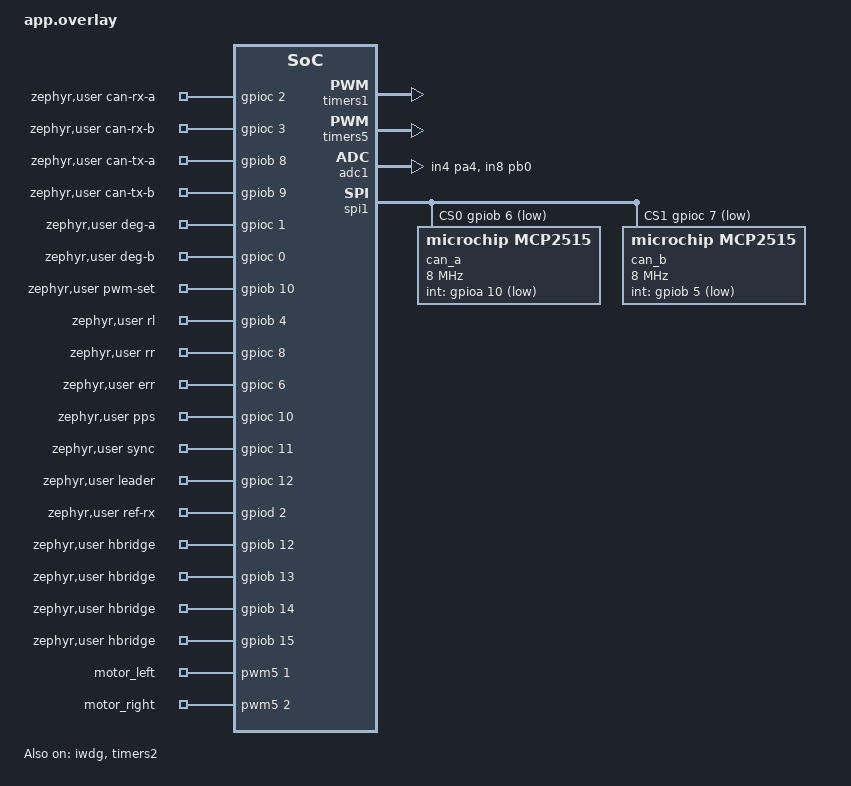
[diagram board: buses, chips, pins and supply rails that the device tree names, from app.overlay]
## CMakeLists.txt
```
cmake_minimum_required(VERSION 3.20.0)

find_package(Zephyr REQUIRED HINTS $ENV{ZEPHYR_BASE})
project(node3_rear)

target_include_directories(app PRIVATE ${CMAKE_CURRENT_SOURCE_DIR}/../shared)

# Lab 5 startup mode, same on all three nodes (CMake caches these: pass
# -DLEADER=cockpit -DSEED= to go back):
#   west build ... -- -DLEADER=random            election at boot
#   west build ... -- -DLEADER=random -DSEED=408  reproducible; the Pi wins
if(DEFINED LEADER AND LEADER STREQUAL "random")
  target_compile_definitions(app PRIVATE RAFT_DEFAULT_LEADER=-1)
endif()
if(DEFINED SEED AND NOT SEED STREQUAL "")
  target_compile_definitions(app PRIVATE RAFT_ELECTION_SEED=${SEED}u)
endif()

target_sources(app PRIVATE
    ${CMAKE_CURRENT_SOURCE_DIR}/../shared/raft_agent.c
    ${CMAKE_CURRENT_SOURCE_DIR}/../shared/raft_transport.c
    ${CMAKE_CURRENT_SOURCE_DIR}/../shared/timesync.c
    # shared with node2_front (identical files)
    src/main.c
    src/blink.c
    src/button.c
    src/canbus.c
    src/ctrl.c
    src/current_sensor.c
    src/evlog.c
    src/gtime.c
    src/hb.c
    src/relay.c
    src/raft_node.c
    src/report.c
    src/tp.c
    src/wcet.c
    src/jitter.c
    src/watchdog.c
    src/zone.c
    # N3 only: drivetrain zone
    src/motor.c
    src/encoder.c
    src/drive.c
)
```

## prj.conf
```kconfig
CONFIG_GPIO=y
CONFIG_SPI=y
CONFIG_CAN=y
# RX overrun counter in the 1 s summary (ovr=)
CONFIG_STATS=y
CONFIG_CAN_STATS=y
# CONFIG_CAN_MCP2515 is turned on automatically by the mcp2515 nodes in app.overlay
CONFIG_PWM=y
CONFIG_ADC=y
# Independent watchdog (R4.5) and reset-cause readout
CONFIG_WATCHDOG=y
CONFIG_HWINFO=y
# Quadrature encoder driver (st,stm32-qdec), as in Lab 2
CONFIG_SENSOR=y

CONFIG_CONSOLE=y
CONFIG_UART_CONSOLE=y
CONFIG_PRINTK=y

CONFIG_MAIN_STACK_SIZE=2048

# WCET measurement (src/wcet.c): per-thread CPU time, which stops while a
# thread is preempted or blocked. ANALYSIS adds the driver threads' longest run.
CONFIG_THREAD_RUNTIME_STATS=y
CONFIG_SCHED_THREAD_USAGE=y
CONFIG_SCHED_THREAD_USAGE_ANALYSIS=y
```

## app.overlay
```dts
/*
 * N3 (rear, drivetrain): two MCP2515 CAN modules on SPI1, the Lab 2 H-bridge,
 * wheel encoders and motor current sensors (on their Lab 2 pins), and the
 * Lab 3 test points. Full pin and breadboard-row map: docs/lab3_pin_map.md
 * PC2, PC3, PC6, PC8 and PB12 are on the ST morpho headers (labelled on the board).
 */
#include <zephyr/dt-bindings/gpio/gpio.h>
#include <zephyr/dt-bindings/pwm/pwm.h>

/ {
	aliases {
		can-a = &can_a;
		can-b = &can_b;
	};

	zephyr,user {
		/* Test points (src/tp.c). Rows 1-2 of the test-point board are GND. */
		can-rx-a-gpios = <&gpioc 2 GPIO_ACTIVE_HIGH>;	/* row 3:  CAN_RX_A, PC2 (morpho) */
		can-rx-b-gpios = <&gpioc 3 GPIO_ACTIVE_HIGH>;	/* row 4:  CAN_RX_B, PC3 (morpho) */
		can-tx-a-gpios = <&gpiob 8 GPIO_ACTIVE_HIGH>;	/* row 5:  CAN_TX_A, D15 / PB8 */
		can-tx-b-gpios = <&gpiob 9 GPIO_ACTIVE_HIGH>;	/* row 6:  CAN_TX_B, D14 / PB9 */
		deg-a-gpios    = <&gpioc 1 GPIO_ACTIVE_HIGH>;	/* row 7:  DEG_A,    A4 / PC1, LED */
		deg-b-gpios    = <&gpioc 0 GPIO_ACTIVE_HIGH>;	/* row 8:  DEG_B,    A5 / PC0, LED */
		pwm-set-gpios  = <&gpiob 10 GPIO_ACTIVE_HIGH>;	/* row 9:  PWM_SET,  D6 / PB10 */
		/* row 10: PWM_OUT = left motor ENA PWM, A0 / PA0 (pwms below) */
		/* row 11: DIR_A   = H-bridge IN1, PB12 (hbridge-gpios below) */
		rl-gpios       = <&gpiob 4 GPIO_ACTIVE_HIGH>;	/* row 12: RL,       D5 / PB4, LED */
		rr-gpios       = <&gpioc 8 GPIO_ACTIVE_HIGH>;	/* row 13: RR,       PC8 (morpho), LED */
		err-gpios      = <&gpioc 6 GPIO_ACTIVE_HIGH>;	/* row 14: ERR,      PC6 (morpho), added */
		/* Lab 5 (src/gtime.c). No Arduino pin is free, so N2 and N3 use the same
		 * morpho pins, labelled on the board: CN7 pins 1-4 (top of the left header). */
		pps-gpios      = <&gpioc 10 GPIO_ACTIVE_HIGH>;	/* PPS:    PC10, morpho CN7 pin 1 (rising edge each global second) */
		sync-gpios     = <&gpioc 11 GPIO_ACTIVE_HIGH>;	/* SYNC:   PC11, morpho CN7 pin 2 (LED) */
		leader-gpios   = <&gpioc 12 GPIO_ACTIVE_HIGH>;	/* LEADER: PC12, morpho CN7 pin 3 (LED) */
		ref-rx-gpios   = <&gpiod 2 GPIO_ACTIVE_HIGH>;	/* REF_RX: PD2,  morpho CN7 pin 4 (toggles per REF used) */

		/* L298 H-bridge (src/motor.c), Lab 2 pins */
		hbridge-gpios = <&gpiob 12 GPIO_ACTIVE_HIGH>,	/* IN1, also DIR_A */
				<&gpiob 13 GPIO_ACTIVE_HIGH>,	/* IN2 */
				<&gpiob 14 GPIO_ACTIVE_HIGH>,	/* IN3 */
				<&gpiob 15 GPIO_ACTIVE_HIGH>;	/* IN4 */
		pwms = <&pwm5 1 PWM_USEC(100) PWM_POLARITY_NORMAL>,	/* ENA, PA0 */
		       <&pwm5 2 PWM_USEC(100) PWM_POLARITY_NORMAL>;	/* ENB, PA1 */
		pwm-names = "motor_left", "motor_right";
	};
};

/* ---- Board defaults that sit on pins this node uses ---- */
/* ---- Independent watchdog (src/watchdog.c); the window watchdog stays off ---- */
&iwdg { status = "okay"; };
&wwdg { status = "disabled"; };
&gpiod { status = "okay"; };	/* PD2: REF_RX test point */

&usart1 { status = "disabled"; };	/* PB6/PB7: PB6 is CAN A chip select */
&i2c1 { status = "disabled"; };		/* PB8/PB9: CAN_TX_A/B test points */
&i2c3 { status = "disabled"; };		/* PA8/PC9: PA8 is the left encoder */
&spi2 { status = "disabled"; };		/* PB12-PB15: H-bridge IN1-IN4 */
&pwm2 { status = "disabled"; };		/* PWM LED on PA5 = SPI1 SCK */

/* ---- Left encoder: TIM1 CH1/CH2 on PA8/PA9 (Lab 2) ---- */
&timers1 {
	status = "okay";
	st,prescaler = <0>;

	pwm {
		status = "disabled";
	};

	left_encoder: qdec {
		compatible = "st,stm32-qdec";
		status = "okay";
		pinctrl-0 = <&tim1_ch1_pa8 &tim1_ch2_pa9>;
		pinctrl-names = "default";
		st,encoder-mode = <3>;
		st,input-filter-level = <3>;
		st,counts-per-revolution = <1>;
	};
};

/* ---- Right encoder: TIM2 CH1/CH2 on PA15/PB3 (Lab 2) ---- */
&timers2 {
	status = "okay";
	st,prescaler = <0>;

	right_encoder: qdec {
		compatible = "st,stm32-qdec";
		status = "okay";
		pinctrl-0 = <&tim2_ch1_pa15 &tim2_ch2_pb3>;
		pinctrl-names = "default";
		st,encoder-mode = <3>;
		st,input-filter-level = <3>;
		st,counts-per-revolution = <1>;
	};
};

/* ---- Motor enables ENA/ENB: TIM5 CH1/CH2 on PA0/PA1, 10 kHz (Lab 2) ---- */
&timers5 {
	status = "okay";
	st,prescaler = <83>;

	pwm5: pwm {
		status = "okay";
		pinctrl-0 = <&tim5_ch1_pa0 &tim5_ch2_pa1>;
		pinctrl-names = "default";
	};
};

/* ---- Motor current sensors: left PB0 = ADC1_IN8, right PA4 = ADC1_IN4 (Lab 2) ---- */
&adc1 {
	pinctrl-0 = <&adc1_in4_pa4 &adc1_in8_pb0>;
	pinctrl-names = "default";
	status = "okay";
};

/*
 * ---- Two XIAO CAN modules (MCP2515 + SN65HVD230) on SPI1 ----
 *
 *   Module   Function   Nucleo
 *   D8       SCK        D13 / PA5   (shared)
 *   D10      MOSI       D11 / PA7   (shared)
 *   D9       MISO       D12 / PA6   (shared)
 *   D7       CS         CAN A: D10 / PB6    CAN B: D9 / PC7
 *   D6       INT        CAN A: D2  / PA10   CAN B: D4 / PB5
 *
 * osc-freq must match the crystal printed on the module's metal can.
 */
&spi1 {
	status = "okay";
	cs-gpios = <&gpiob 6 GPIO_ACTIVE_LOW>,	/* reg 0: CAN A */
		   <&gpioc 7 GPIO_ACTIVE_LOW>;	/* reg 1: CAN B */

	can_a: can@0 {
		compatible = "microchip,mcp2515";
		reg = <0>;
		/*
		 * Requests 8 MHz; SPI1 runs from the 84 MHz APB2 clock with power-of-two
		 * dividers, so the real clock is 84/16 = 5.25 MHz (4 MHz gave 2.625).
		 * Lab 5: N2 relays ~190 frames/s over this shared bus; at 2.625 MHz its
		 * TX completions fell behind and heartbeats found all 3 TX buffers busy.
		 * History: 1 MHz lost back-to-back frames. MCP2515 max is 10 MHz.
		 */
		spi-max-frequency = <8000000>;
		int-gpios = <&gpioa 10 (GPIO_ACTIVE_LOW | GPIO_PULL_UP)>;
		osc-freq = <16000000>;
		bitrate = <500000>;
		status = "okay";
	};

	can_b: can@1 {
		compatible = "microchip,mcp2515";
		reg = <1>;
		spi-max-frequency = <8000000>;
		int-gpios = <&gpiob 5 (GPIO_ACTIVE_LOW | GPIO_PULL_UP)>;
		osc-freq = <16000000>;
		bitrate = <500000>;
		status = "okay";
	};
};
```

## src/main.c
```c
/*
 * Lab 3 zone controller: shared dual-CAN layer, heartbeats, HB_MON with
 * degraded LEDs and zone failure, the N2 relay, test points, and the Lab 2
 * actuators and sensors for this zone (app.h: steer.c on N2, drive.c on N3).
 *
 * Threads (priority, lower = higher; all values in lab3_config.h):
 *   MCP2515 driver x2 (2)  SPI frame reads, toggles CAN_RX_A/B via canbus rx_cb
 *   relay      (3, N2)     forwards first copies to the other bus, RELAY_TX
 *   dispatch   (4)         dedup by (ID, seq), heartbeat ages, CTRL check,
 *                          HB/FAULT -> zone state, BLINK -> blink
 *   steer      (5, N2)     CTRL -> servo angle
 *   drive      (5, N3)     CTRL -> brake / coast / PID target
 *   blink      (5)         this zone's two blinker lamps
 *   test_btn   (5)         USER button B1 -> local fault / recover
 *   pid        (6, N3)     encoders -> motor duty every 10 ms
 *   pps        (6)         Lab 5: PPS edge on each global second, SYNC snapshot
 *   hb_tx      (7)         HB every 20 ms on both buses
 *   hb_mon     (8)         every 5 ms: DEG_A/B, zone lost, zone state, ERR, watchdog
 *   force      (9, N2)     FORCE every 50 ms
 *   current    (10)        current sensors every 20 ms
 *   report     (12)        console summary once a second
 *
 * Console: USART2 / ST-LINK virtual COM port, 115200 baud.
 */
#include <zephyr/kernel.h>
#include <zephyr/sys/printk.h>

#include "app.h"
#include "blink.h"
#include "button.h"
#include "canbus.h"
#include "gtime.h"
#include "ctrl.h"
#include "hb.h"
#include "lab3_config.h"
#include "node_config.h"
#include "raft_node.h"
#include "raft_config.h"
#include "relay.h"
#include "report.h"
#include "tp.h"
#include "watchdog.h"
#include "wcet.h"
#include "zone.h"

/* Dispatch thread: route the first copy of each frame. */
static void on_frame(const struct can_frame *frame, int bus)
{
	if (catalog_is_raft(frame->id)) {
		if ((frame->id & ~3u) == ID_REF(0)) {
			gtime_on_ref(frame, canbus_rx_cycles()); /* before any queueing */
		}
		raft_node_receive(frame);
		return;
	}
	if (frame->id == ID_CTRL) {
		ctrl_on_frame(frame);
	} else if (frame->id == ID_BLINK) {
		blink_on_frame(frame);
	} else if (catalog_is_hb(frame->id) || (frame->id >= ID_FAULT(0) && frame->id < ID_FAULT(NUM_NODES))) {
		zone_on_frame(frame);
	}
	app_on_frame(frame, bus);
}

int main(void)
{
	printk("Lab 3 zone %s: heartbeat 0x%03x every %d ms, relay %s\n", NODE_NAME,
	       ID_HB(NODE_SELF), HB_PERIOD_MS, RELAY_ENABLED ? "on" : "off");

	tp_init();
	wcet_init();
	if (TP_WALK_MS > 0) {
		tp_selftest(TP_WALK_MS);
	}
	/* Power up in the error state with both buses degraded until heartbeats arrive. */
	tp_set(TP_ERR, 1);
	tp_set(TP_DEG_A, 1);
	tp_set(TP_DEG_B, 1);

	gtime_init(); /* before CAN: the first REF may arrive at once */
	canbus_set_handler(on_frame);
	if (canbus_init() < 0) {
		printk("no CAN controller came up\n");
	}
	raft_node_init();
	relay_init();
	hb_init();
	report_init();

	/* Actuators safe, sensors calibrated (~0.75 s), then the zone's tasks. */
	int ret = app_init();

	if (ret < 0) {
		printk("app_init failed (%d): actuators stay in their safe state\n", ret);
	}
	blink_init();
	if (button_init() < 0) {
		printk("test button init failed\n");
	}
	/* Last, and only if the actuator task is running: it has to check in. */
	if (ret == 0) {
		watchdog_init();
	} else {
		printk("watchdog not started (no actuator task to supervise)\n");
	}
	return 0;
}
```

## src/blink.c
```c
#include "blink.h"

#include <zephyr/kernel.h>
#include <zephyr/sys/atomic.h>

#include "catalog.h"
#include "blink_phase.h"
#include "canbus.h" /* BUS_A, BUS_B */
#include "evlog.h"
#include "gtime.h"
#include "hb.h"
#include "lab3_config.h"
#include "node_config.h"
#include "tp.h"
#include "wcet.h"
#include "zone.h"

#define BLINK_STACK_SIZE 1024
#define BLINK_POLL_US    10000 /* re-check zone, peers and BLINK age at least this often */

static atomic_t last_bits;      /* byte 1 of the last BLINK */
static atomic_t last_rx_ms;     /* 0 = never */
static atomic_t local_hazard;   /* half period of a local hazard, 0 = none */
static atomic_t lamp_half_ms;   /* half period now in use, 0 = lamps off */
static atomic_t lamps;          /* bit 0 left, bit 1 right: what's lit now */

K_SEM_DEFINE(blink_new, 0, 1);
K_THREAD_STACK_DEFINE(blink_stack, BLINK_STACK_SIZE);
static struct k_thread blink_data;

void blink_on_frame(const struct can_frame *frame)
{
	uint32_t now = k_uptime_get_32();

	atomic_set(&last_bits, frame->data[1]);
	atomic_set(&last_rx_ms, now != 0 ? now : 1);
	k_sem_give(&blink_new);
}

static void set_lamps(bool left, bool right)
{
	tp_set(BLINK_LAMP_LEFT, left);
	tp_set(BLINK_LAMP_RIGHT, right);
	atomic_set(&lamps, (left ? 1 : 0) | (right ? 2 : 0));
}

/* Half period for a cockpit BLINK mode; 0 = off. */
static uint32_t mode_half_ms(uint8_t mode)
{
	if (mode == (BLINK_LEFT | BLINK_RIGHT)) {
		return BLINK_HAZARD_HALF_MS;
	}
	return mode ? BLINK_TURN_HALF_MS : 0;
}

static void blink_thread(void *p1, void *p2, void *p3)
{
	uint8_t logged_mode = 0;
	uint32_t wait_us = 0;
	struct wcet_job job = WCET_JOB(WCET_BLINK);

	ARG_UNUSED(p1);
	ARG_UNUSED(p2);
	ARG_UNUSED(p3);

	for (;;) {
		/* A frame wakes us at once; otherwise the next lamp edge, or 10 ms. */
		wcet_end(&job);
		k_sem_take(&blink_new, K_USEC(wait_us));
		wcet_begin(&job);

		uint32_t now = k_uptime_get_32();
		uint32_t rx = (uint32_t)atomic_get(&last_rx_ms);
		/*
		 * Cut off from both buses (jumpers pulled): we can't tell whether the
		 * cockpit is down, so this is an ordinary local hazard at 2 Hz. Only
		 * N1 going silent while we still hear the bus is the vehicle's
		 * failure mode (cockpit down), at 4 Hz.
		 */
		bool isolated = zone_state() == ZONE_ISOLATED ||
				(hb_bus_degraded(BUS_A) && hb_bus_degraded(BUS_B));
		bool failure = !isolated && !hb_peer_alive(NODE_N1);
		bool hazard_here = isolated || failure || rx == 0 || now - rx > BLINK_STALE_MS;
		uint32_t half_ms;
		bool left, right;

		if (hazard_here) {
			half_ms = failure ? BLINK_FAILURE_HALF_MS : BLINK_HAZARD_HALF_MS;
			if ((uint32_t)atomic_get(&local_hazard) != half_ms) {
				if (isolated) {
					evlog("local hazard ON (%u Hz): isolated from both buses",
					      500u / half_ms);
				} else if (failure) {
					evlog("local hazard ON (%u Hz): N1 heartbeat lost, failure mode",
					      500u / half_ms);
				} else if (rx == 0) {
					evlog("local hazard ON (%u Hz): no BLINK received yet",
					      500u / half_ms);
				} else {
					evlog("local hazard ON (%u Hz): no BLINK for %u ms",
					      500u / half_ms, now - rx);
				}
				atomic_set(&local_hazard, (atomic_val_t)half_ms);
			}
			left = right = true;
		} else {
			if (atomic_get(&local_hazard)) {
				evlog("local hazard off");
			}
			atomic_set(&local_hazard, 0);

			uint8_t mode = (uint8_t)atomic_get(&last_bits) & (BLINK_LEFT | BLINK_RIGHT);

			if (mode != logged_mode) {
				static const char *const names[] = {"off", "LEFT", "RIGHT", "HAZARD"};

				evlog("cockpit BLINK %s -> %s", names[logged_mode], names[mode]);
				logged_mode = mode;
			}
			half_ms = mode_half_ms(mode);
			left = mode & BLINK_LEFT;
			right = mode & BLINK_RIGHT;
		}
		atomic_set(&lamp_half_ms, (atomic_val_t)half_ms);

		/* Phase from global time, not from the BLINK frame: front and rear
		 * switch at the same global instant (shared/blink_phase.h). */
		uint64_t g = global_gettime();
		bool on = blink_phase_on(g, half_ms);

		set_lamps(on && left, on && right);

		uint64_t to_edge = half_ms ? blink_us_to_edge(g, half_ms) : BLINK_POLL_US;

		wait_us = (uint32_t)(to_edge < BLINK_POLL_US ? to_edge : BLINK_POLL_US);
	}
}

const char *blink_describe(void)
{
	static const char *const names[] = {"off", "LEFT", "RIGHT", "HAZARD"};
	static char buf[40];
	uint8_t bits = (uint8_t)atomic_get(&last_bits) & (BLINK_LEFT | BLINK_RIGHT);
	bool local = atomic_get(&local_hazard) != 0;
	uint32_t half = (uint32_t)atomic_get(&lamp_half_ms);
	int l = (int)atomic_get(&lamps);

	snprintk(buf, sizeof(buf), "%s%s %uHz, lamps %s", local ? "HAZARD" : names[bits],
		 local ? " (local)" : "", half ? 500u / half : 0u,
		 l == 3 ? "both on" : (l == 1 ? "L on" : (l == 2 ? "R on" : "off")));
	return buf;
}

int blink_init(void)
{
	k_thread_create(&blink_data, blink_stack, K_THREAD_STACK_SIZEOF(blink_stack), blink_thread,
			NULL, NULL, NULL, PRIO_BLINK, 0, K_NO_WAIT);
	k_thread_name_set(&blink_data, "blink");
	return 0;
}
```

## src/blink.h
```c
/*
 * BLINK_F (N2) / BLINK_R (N3): this zone's two blinker lamps (BLINK_LAMP_LEFT /
 * BLINK_LAMP_RIGHT in node_config.h).
 *
 * The cockpit's BLINK frames choose the mode (off, left, right, hazard). The
 * lamp phase comes from global_gettime() (shared/blink_phase.h), so front and
 * rear switch at the same global instant: turn signals 1 Hz, hazards 2 Hz.
 * If N1's heartbeat is lost while this zone still hears the bus (cockpit
 * down: failure mode) it flashes hazards at 4 Hz. If the zone is isolated
 * (ISOLATED, or both buses degraded) or no BLINK arrives for BLINK_STALE_MS
 * (2.6 s), it flashes hazards at 2 Hz. Phases stay
 * global-time aligned in every case.
 */
#ifndef BLINK_H
#define BLINK_H

#include <zephyr/drivers/can.h>

int blink_init(void);

/* Dispatch thread, first copy of each BLINK frame. */
void blink_on_frame(const struct can_frame *frame);

/* For the report: "LEFT on", "HAZARD (local) off", ... */
const char *blink_describe(void);

#endif /* BLINK_H */
```

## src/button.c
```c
/*
 * TEST_BTN: the Nucleo's blue USER button B1 (PC13, the board's sw0). The GPIO
 * interrupt only gives a semaphore; this thread debounces (TEST_BTN_DEBOUNCE_MS
 * lockout after an accepted press, so the first edge acts at once) and hands
 * the press to the zone state machine. Single press = local fail, double
 * press = recover (zone.c).
 */
#include "button.h"

#include <zephyr/drivers/gpio.h>
#include <zephyr/kernel.h>
#include <zephyr/sys/printk.h>

#include "lab3_config.h"
#include "jitter.h"
#include "wcet.h"
#include "zone.h"

#define BUTTON_STACK_SIZE 1024

static const struct gpio_dt_spec button = GPIO_DT_SPEC_GET(DT_ALIAS(sw0), gpios);
static struct gpio_callback button_cb;

K_SEM_DEFINE(button_sem, 0, 1);
static atomic_t press_cyc;              /* first interrupt of this press: J's start */
static atomic_t isr_armed = ATOMIC_INIT(1);
K_THREAD_STACK_DEFINE(button_stack, BUTTON_STACK_SIZE);
static struct k_thread button_data;

static void button_isr(const struct device *dev, struct gpio_callback *cb, uint32_t pins)
{
	ARG_UNUSED(dev);
	ARG_UNUSED(cb);
	ARG_UNUSED(pins);
	if (atomic_cas(&isr_armed, 1, 0)) {
		atomic_set(&press_cyc, (atomic_val_t)jit_now());
	}
	k_sem_give(&button_sem);
}

static void button_thread(void *p1, void *p2, void *p3)
{
	uint32_t last_press = 0;
	bool first = true;
	struct wcet_job job = WCET_JOB(WCET_TEST_BTN);

	ARG_UNUSED(p1);
	ARG_UNUSED(p2);
	ARG_UNUSED(p3);

	for (;;) {
		wcet_end(&job);
		k_sem_take(&button_sem, K_FOREVER);
		wcet_begin(&job);

		uint32_t press = (uint32_t)atomic_get(&press_cyc);

		atomic_set(&isr_armed, 1);

		uint32_t now = k_uptime_get_32();

		if (!first && now - last_press < TEST_BTN_DEBOUNCE_MS) {
			continue; /* contact bounce */
		}
		first = false;
		last_press = now;
		zone_test_button(press);
	}
}

int button_init(void)
{
	int ret;

	if (!gpio_is_ready_dt(&button)) {
		return -ENODEV;
	}
	ret = gpio_pin_configure_dt(&button, GPIO_INPUT);
	ret = ret ? ret : gpio_pin_interrupt_configure_dt(&button, GPIO_INT_EDGE_TO_ACTIVE);
	if (ret < 0) {
		return ret;
	}
	gpio_init_callback(&button_cb, button_isr, BIT(button.pin));
	gpio_add_callback(button.port, &button_cb);

	k_thread_create(&button_data, button_stack, K_THREAD_STACK_SIZEOF(button_stack),
			button_thread, NULL, NULL, NULL, PRIO_TEST_BTN, 0, K_NO_WAIT);
	k_thread_name_set(&button_data, "test_btn");
	return 0;
}
```

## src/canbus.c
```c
#include "canbus.h"

#include <string.h>

#include <zephyr/kernel.h>
#include <zephyr/sys/printk.h>

#include "lab3_config.h"
#include "node_config.h"
#include "raft_node.h"
#include "raft_route.h"
#include "tp.h"
#include "jitter.h"
#include "wcet.h"

#define DISPATCH_STACK_SIZE 1536
#define RX_QUEUE_DEPTH      32

static const struct device *const can_devs[NUM_BUSES] = {
	DEVICE_DT_GET(DT_ALIAS(can_a)),
	DEVICE_DT_GET(DT_ALIAS(can_b)),
};
static const char bus_name[NUM_BUSES] = {'A', 'B'};
static const enum tp_id tp_rx[NUM_BUSES] = {TP_CAN_RX_A, TP_CAN_RX_B};
static const enum tp_id tp_tx[NUM_BUSES] = {TP_CAN_TX_A, TP_CAN_TX_B};

const uint16_t canbus_slot_id[CANBUS_NUM_SLOTS] = {
	ID_CTRL,
	ID_FAULT(NODE_N1), ID_FAULT(NODE_N2), ID_FAULT(NODE_N3),
	ID_HB(NODE_N1), ID_HB(NODE_N2), ID_HB(NODE_N3),
	ID_BLINK,
	ID_FORCE,
};

/* Hardware filters: masks cover the FAULT and HB ranges in one filter each. */
static const struct can_filter catalog_filters[] = {
	{.id = ID_CTRL, .mask = CAN_STD_ID_MASK},
	{.id = ID_FAULT(0), .mask = 0x7FC}, /* 0x020-0x023 */
	{.id = ID_HB(0), .mask = 0x7FC},    /* 0x100-0x103 */
	/* BLINK 0x200 and FORCE 0x300 differ only in bit 8: one filter keeps us at six. */
	{.id = ID_BLINK, .mask = CAN_STD_ID_MASK & ~(ID_BLINK ^ ID_FORCE)},
	{.id = ID_REF(0), .mask = RAFT_REF_FILTER_MASK},          /* 0x040-0x043 */
	{.id = ID_RAFT_BULK_BASE, .mask = RAFT_BULK_FILTER_MASK}, /* 0x140-0x15F */
};

struct canbus_stats canbus_stats;

static bool bus_running[NUM_BUSES];
static atomic_t bus_degraded[NUM_BUSES];
/*
 * Frames handed to the MCP2515 and not yet completed, per bus. The chip has
 * three TX buffers; bulk Raft fragments may use at most RAFT_TX_MAX_INFLIGHT
 * of them, so a heartbeat, CTRL, or FAULT (sent with K_NO_WAIT) always finds
 * one free. REF is a single periodic frame and is not limited.
 */
static atomic_t tx_inflight[NUM_BUSES];
static atomic_t bus_busoff[NUM_BUSES];

static canbus_handler_t relay_hook;
static uint32_t cur_rx_t; /* dispatch thread: t_rx of the frame being handled */
static canbus_handler_t app_handler;

/* Per-ID send sequence counters. */
static uint8_t tx_seq[CANBUS_NUM_SLOTS];
static struct k_spinlock tx_lock;

/* HB_TX and HB_MON can both flush a bus; one stop/start at a time. */
K_MUTEX_DEFINE(flush_lock);

/* Dispatch thread state (only the dispatch thread writes these). */
struct seen {
	int64_t ms;
	uint8_t seq;
	bool valid;
};
static struct seen seen[CANBUS_NUM_SLOTS];
struct raft_recent {
	uint32_t id;
	int64_t ms;
	uint8_t data[FRAME_DLC];
};
static struct raft_recent raft_recent[32];
static uint8_t raft_recent_next;
/* 32-bit so other threads read it in one access; 0 = never heard. */
static uint32_t last_hb_ms[NUM_BUSES][NUM_NODES];

struct rx_item {
	uint8_t bus;
	uint32_t t_rx; /* k_cycle_get_32() in rx_cb */
	struct can_frame frame;
};
K_MSGQ_DEFINE(rx_q, sizeof(struct rx_item), RX_QUEUE_DEPTH, 4);

K_THREAD_STACK_DEFINE(dispatch_stack, DISPATCH_STACK_SIZE);
static struct k_thread dispatch_thread_data;

static int slot_of(uint32_t id)
{
	for (int i = 0; i < CANBUS_NUM_SLOTS; i++) {
		if (canbus_slot_id[i] == id) {
			return i;
		}
	}
	return -1;
}

static bool raft_duplicate(const struct can_frame *f, int64_t now)
{
	for (size_t i = 0; i < ARRAY_SIZE(raft_recent); i++) {
		if (raft_recent[i].id == f->id && now - raft_recent[i].ms < DUP_WINDOW_MS &&
		    memcmp(raft_recent[i].data, f->data, FRAME_DLC) == 0) {
			return true;
		}
	}
	struct raft_recent *r = &raft_recent[raft_recent_next++ % ARRAY_SIZE(raft_recent)];

	r->id = f->id;
	r->ms = now;
	memcpy(r->data, f->data, FRAME_DLC);
	return false;
}

const struct device *canbus_dev(int bus)
{
	return can_devs[bus];
}

/* MCP2515 driver thread, right after the SPI read: no printing, just queue it. */
static void rx_cb(const struct device *dev, struct can_frame *frame, void *user_data)
{
	struct rx_item item = {.bus = (uint8_t)(uintptr_t)user_data, .frame = *frame};

	ARG_UNUSED(dev);
	item.t_rx = jit_now();
	tp_toggle(tp_rx[item.bus]);
	wcet_driver_seen(item.bus);
	if (k_msgq_put(&rx_q, &item, K_NO_WAIT) != 0) {
		atomic_inc(&canbus_stats.rx_dropped);
	}
}

static void tx_cb(const struct device *dev, int error, void *user_data)
{
	int bus = (int)(uintptr_t)user_data;

	ARG_UNUSED(dev);
	if (atomic_dec(&tx_inflight[bus]) <= 0) {
		atomic_set(&tx_inflight[bus], 0); /* never below zero after a flush */
	}
	atomic_inc(error == 0 ? &canbus_stats.bus[bus].tx_ok : &canbus_stats.bus[bus].tx_err);
}

/* Counts the buffer before can_send() so tx_cb can never run first. */
static int send_counted(int bus, const struct can_frame *frame, k_timeout_t wait)
{
	struct canbus_bus_stats *b = &canbus_stats.bus[bus];
	atomic_val_t now = atomic_inc(&tx_inflight[bus]) + 1;

	if (now > atomic_get(&b->infl_max)) {
		atomic_set(&b->infl_max, now);
	}
	int ret = can_send(can_devs[bus], frame, wait, tx_cb, (void *)(uintptr_t)bus);

	if (ret < 0) {
		atomic_dec(&tx_inflight[bus]);
	} else {
		atomic_inc(&b->tx_queued);
	}
	return ret;
}

static bool is_raft_bulk(uint32_t id)
{
	return catalog_is_raft(id) && (id & ~3u) != ID_REF(0);
}

bool canbus_raft_tx_ready(int bus)
{
	return atomic_get(&tx_inflight[bus]) < RAFT_TX_MAX_INFLIGHT;
}

bool canbus_raft_wait_reserve(int bus)
{
	uint32_t start = k_cycle_get_32();

	while (!canbus_raft_tx_ready(bus)) {
		if (k_cyc_to_us_floor32(k_cycle_get_32() - start) >= RAFT_TX_RESERVE_WAIT_US) {
			return false;
		}
		k_sleep(K_USEC(100));
	}
	return true;
}

long canbus_tx_inflight(int bus)
{
	return (long)atomic_get(&tx_inflight[bus]);
}

static void state_cb(const struct device *dev, enum can_state state, struct can_bus_err_cnt err,
		     void *user_data)
{
	ARG_UNUSED(dev);
	ARG_UNUSED(err);
	if (state == CAN_STATE_BUS_OFF) {
		atomic_set(&bus_busoff[(int)(uintptr_t)user_data], 1);
	}
}

static void dispatch_thread(void *p1, void *p2, void *p3)
{
	struct rx_item item;
	struct wcet_job job = WCET_JOB(WCET_DISPATCH);

	ARG_UNUSED(p1);
	ARG_UNUSED(p2);
	ARG_UNUSED(p3);

	for (;;) {
		wcet_end(&job);
		k_msgq_get(&rx_q, &item, K_FOREVER);
		wcet_begin(&job);

		const struct can_frame *f = &item.frame;

		job.slot = f->id == ID_CTRL ? WCET_DISPATCH_CTRL : WCET_DISPATCH;
		int slot = slot_of(f->id);
		int sender = catalog_sender(f->id);
		int64_t now = k_uptime_get();
		if (catalog_is_raft(f->id) && f->dlc == FRAME_DLC) {
			if (sender == NODE_SELF) {
				atomic_inc(&canbus_stats.own_echo);
			} else if (raft_duplicate(f, now)) {
				atomic_inc(&canbus_stats.duplicates);
			} else {
				cur_rx_t = item.t_rx;
				if (relay_hook) {
					relay_hook(f, item.bus);
				}
				if (app_handler) {
					app_handler(f, item.bus);
				}
			}
			continue;
		}

		if (slot < 0 || f->dlc != FRAME_DLC) {
			atomic_inc(&canbus_stats.unknown_id);
			continue;
		}
		atomic_inc(&canbus_stats.bus[item.bus].rx[slot]);

		/* Our own frame, relayed back to us by N2. */
		if (sender == NODE_SELF) {
			atomic_inc(&canbus_stats.own_echo);
			continue;
		}

		/* Presence counts every copy: a relayed heartbeat still means "alive". */
		if (catalog_is_hb(f->id)) {
			uint32_t t = (uint32_t)now;

			last_hb_ms[item.bus][sender] = t != 0 ? t : 1;
		}

		uint8_t seq = f->data[0] & SEQ_MASK;
		struct seen *s = &seen[slot];

		if (s->valid && s->seq == seq && now - s->ms < DUP_WINDOW_MS) {
			atomic_inc(&canbus_stats.duplicates);
			continue;
		}
		if (s->valid && seq != ((s->seq + 1) & SEQ_MASK)) {
			atomic_add(&canbus_stats.gaps[slot], (seq - s->seq - 1) & SEQ_MASK);
		}
		s->seq = seq;
		s->ms = now;
		s->valid = true;
		atomic_inc(&canbus_stats.accepted[slot]);

		cur_rx_t = item.t_rx;
		if (relay_hook) {
			relay_hook(f, item.bus);
		}
		if (app_handler) {
			app_handler(f, item.bus);
		}
	}
}

uint32_t canbus_rx_cycles(void)
{
	return cur_rx_t;
}

static int queue_on(int bus, const struct can_frame *frame, uint32_t release, bool relayed,
		    k_timeout_t wait)
{
	int ret;

	tp_toggle(tp_tx[bus]);
	ret = send_counted(bus, frame, wait);
	if (ret == 0) {
		jit_note(frame->id, bus, release, relayed);
	}
	if (ret == -EAGAIN) {
		atomic_inc(&canbus_stats.bus[bus].tx_full); /* all 3 TX buffers busy */
	} else if (ret < 0) {
		atomic_inc(&canbus_stats.bus[bus].tx_err);
	}
	return ret;
}

int canbus_send(uint32_t id, uint8_t payload[FRAME_DLC], bool include_degraded)
{
	return canbus_send_at(id, payload, include_degraded, 0);
}

int canbus_send_raft(uint32_t id, const uint8_t payload[FRAME_DLC])
{
	struct can_frame frame = {.id = id, .dlc = FRAME_DLC};
	int sent = 0;

	if (!catalog_is_raft(id) || catalog_sender(id) != NODE_SELF) {
		return -EINVAL;
	}
	memcpy(frame.data, payload, FRAME_DLC);
	for (int bus = 0; bus < NUM_BUSES; bus++) {
		if (!bus_running[bus] || atomic_get(&bus_degraded[bus])) {
			continue;
		}
		if (!raft_route_send_on_bus(raft_node_route_snapshot(), NODE_SELF, bus,
			bus_running[1 - bus] && !atomic_get(&bus_degraded[1 - bus]))) {
			atomic_inc(&canbus_stats.bus[bus].tx_skipped);
			continue;
		}
		/*
		 * Prefer to leave the last TX buffer to Lab 3 frames, but never skip a
		 * fragment for it: a missing fragment loses the whole message.
		 */
		if (is_raft_bulk(id) && !canbus_raft_wait_reserve(bus)) {
			atomic_inc(&canbus_stats.bus[bus].raft_late);
		}
		tp_toggle(tp_tx[bus]);
		int ret = send_counted(bus, &frame, K_MSEC(2));
		if (ret == 0) {
			sent++;
		} else if (ret == -EAGAIN) {
			atomic_inc(&canbus_stats.bus[bus].tx_full);
		} else {
			atomic_inc(&canbus_stats.bus[bus].tx_err);
		}
	}
	return sent ? 0 : -EIO;
}

int canbus_send_at(uint32_t id, uint8_t payload[FRAME_DLC], bool include_degraded,
		   uint32_t release)
{
	int slot = slot_of(id);
	struct can_frame frame = {.id = id, .dlc = FRAME_DLC};
	int sent = 0;

	if (slot < 0) {
		return -EINVAL;
	}

	k_spinlock_key_t key = k_spin_lock(&tx_lock);
	payload[0] = tx_seq[slot] & SEQ_MASK; /* flags nibble: none defined */
	tx_seq[slot] = (tx_seq[slot] + 1) & SEQ_MASK;
	k_spin_unlock(&tx_lock, key);

	memcpy(frame.data, payload, FRAME_DLC);

	for (int bus = 0; bus < NUM_BUSES; bus++) {
		if (!bus_running[bus]) {
			continue;
		}
		if (!include_degraded && atomic_get(&bus_degraded[bus])) {
			atomic_inc(&canbus_stats.bus[bus].tx_skipped);
			continue;
		}
		if (!include_degraded &&
		    !raft_route_send_on_bus(raft_node_route_snapshot(), NODE_SELF, bus,
			bus_running[1 - bus] && !atomic_get(&bus_degraded[1 - bus]))) {
			atomic_inc(&canbus_stats.bus[bus].tx_skipped);
			continue;
		}
		/*
		 * Our heartbeat may wait briefly for a TX buffer: the driver frees a
		 * buffer a little after its TX callback, so K_NO_WAIT sometimes found
		 * none free and the heartbeat was lost. Not on a degraded bus, where
		 * unACKed heartbeats can hold every buffer and waiting cannot help.
		 */
		k_timeout_t wait = catalog_is_hb(id) && !atomic_get(&bus_degraded[bus]) ?
					   K_USEC(HB_TX_WAIT_US) : K_NO_WAIT;

		if (queue_on(bus, &frame, release, false, wait) == 0) {
			sent++;
		}
	}
	return sent > 0 ? 0 : -EIO;
}

int canbus_forward(int bus, const struct can_frame *frame)
{
	return canbus_forward_at(bus, frame, 0);
}

int canbus_forward_at(int bus, const struct can_frame *frame, uint32_t release)
{
	if (!bus_running[bus]) {
		return -ENETDOWN;
	}
	if (atomic_get(&bus_degraded[bus])) {
		atomic_inc(&canbus_stats.bus[bus].tx_skipped);
		return -ENETUNREACH;
	}
	return queue_on(bus, frame, release, true, K_NO_WAIT);
}

void canbus_flush(int bus)
{
	if (!bus_running[bus]) {
		return;
	}
	/* can_stop() aborts pending transmissions; restart keeps the filters. */
	k_mutex_lock(&flush_lock, K_FOREVER);
	can_stop(can_devs[bus]);
	atomic_set(&tx_inflight[bus], 0); /* stop aborted everything pending */
	can_start(can_devs[bus]);
	k_mutex_unlock(&flush_lock);
}

bool canbus_bus_running(int bus)
{
	return bus_running[bus];
}

void canbus_set_degraded(int bus, bool degraded)
{
	atomic_set(&bus_degraded[bus], degraded ? 1 : 0);
}

bool canbus_is_degraded(int bus)
{
	return atomic_get(&bus_degraded[bus]) != 0;
}

uint32_t canbus_last_hb_ms(int bus, int node)
{
	return last_hb_ms[bus][node];
}

bool canbus_take_busoff(int bus)
{
	return atomic_clear(&bus_busoff[bus]) != 0;
}

void canbus_set_relay_hook(canbus_handler_t hook)
{
	relay_hook = hook;
}

void canbus_set_handler(canbus_handler_t handler)
{
	app_handler = handler;
}

static int setup_bus(int bus)
{
	const struct device *dev = can_devs[bus];
	int ret;

	if (!device_is_ready(dev)) {
		printk("CAN %c (%s): not ready - check SPI wiring, CS pin and osc-freq\n",
		       bus_name[bus], dev->name);
		return -ENODEV;
	}

	for (size_t i = 0; i < ARRAY_SIZE(catalog_filters); i++) {
		ret = can_add_rx_filter(dev, rx_cb, (void *)(uintptr_t)bus, &catalog_filters[i]);
		if (ret < 0) {
			printk("CAN %c: can_add_rx_filter failed (%d)\n", bus_name[bus], ret);
			return ret;
		}
	}
	/*
	 * Deprecated in Zephyr 4.5 in favour of can_add_state_change_callback(),
	 * which older 4.4 trees don't have yet; this one works in both.
	 */
	can_set_state_change_callback(dev, state_cb, (void *)(uintptr_t)bus);

	ret = can_start(dev);
	if (ret < 0) {
		printk("CAN %c: can_start failed (%d)\n", bus_name[bus], ret);
		return ret;
	}
	printk("CAN %c (%s): started\n", bus_name[bus], dev->name);
	return 0;
}

int canbus_init(void)
{
	int up = 0;

	k_thread_create(&dispatch_thread_data, dispatch_stack,
			K_THREAD_STACK_SIZEOF(dispatch_stack), dispatch_thread, NULL, NULL, NULL,
			PRIO_DISPATCH, 0, K_NO_WAIT);
	k_thread_name_set(&dispatch_thread_data, "dispatch");

	for (int bus = 0; bus < NUM_BUSES; bus++) {
		bus_running[bus] = (setup_bus(bus) == 0);
		atomic_set(&bus_degraded[bus], 1); /* until a heartbeat is heard */
		up += bus_running[bus];
	}
	return up > 0 ? 0 : -ENODEV;
}
```

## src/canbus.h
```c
/*
 * Shared dual-CAN layer.
 *
 *  - Both MCP2515 controllers, with receive filters for the catalog IDs only.
 *  - canbus_send(): queues one frame on selected usable buses with the same
 *    per-ID sequence number, bumped once.
 *  - One dispatch thread that drops duplicates by (ID, seq) - the A copy, the
 *    B copy and any relayed copy - before anything else sees the frame, and
 *    records when each node's heartbeat was last heard on each bus.
 */
#ifndef CANBUS_H
#define CANBUS_H

#include <stdbool.h>
#include <stdint.h>
#include <zephyr/drivers/can.h>
#include <zephyr/sys/atomic.h>

#include "catalog.h"

enum { BUS_A = 0, BUS_B = 1, NUM_BUSES = 2 };

/* Called from the dispatch thread with the first copy of each frame. */
typedef void (*canbus_handler_t)(const struct can_frame *frame, int bus);

int canbus_init(void);

/* Receivers of first copies. The relay hook runs before the application handler. */
void canbus_set_relay_hook(canbus_handler_t hook);
void canbus_set_handler(canbus_handler_t handler);

/*
 * Sends payload (bytes 1-7 used; byte 0 is overwritten with the sequence
 * number) on graph-selected usable buses. Buses marked degraded are skipped
 * unless include_degraded is set (heartbeats keep probing for recovery).
 */
int canbus_send(uint32_t id, uint8_t payload[FRAME_DLC], bool include_degraded);

/*
 * Same, recording J = now - release (k_cycle_get_32() of the triggering event,
 * from jit_now()) per bus once each copy is queued. release 0 records nothing.
 */
int canbus_send_at(uint32_t id, uint8_t payload[FRAME_DLC], bool include_degraded,
		   uint32_t release);

/* Sends one raw Lab 5 frame without overwriting byte 0 with a Lab 3 sequence. */
/*
 * True while bulk Raft frames may use another TX buffer on this bus: at most
 * RAFT_TX_MAX_INFLIGHT of the MCP2515's three, so Lab 3 frames keep one.
 */
bool canbus_raft_tx_ready(int bus);

/*
 * Wait up to RAFT_TX_RESERVE_WAIT_US for canbus_raft_tx_ready(). Returns
 * false on timeout; the caller then sends anyway (fail-safe: a Raft message
 * is never abandoned part-way because of the reserve).
 */
bool canbus_raft_wait_reserve(int bus);

/* Frames handed to the MCP2515 and not yet completed (debug). */
long canbus_tx_inflight(int bus);
int canbus_send_raft(uint32_t id, const uint8_t payload[FRAME_DLC]);

/* Queues a bit-identical copy of frame on one bus (the relay). */
int canbus_forward(int bus, const struct can_frame *frame);
int canbus_forward_at(int bus, const struct can_frame *frame, uint32_t release);

/*
 * One relay attempt that may wait up to `wait` for a TX buffer. -EAGAIN (all
 * buffers busy) is returned without counting tx_full so the relay can retry;
 * if it finally gives up it calls canbus_note_tx_full().
 */
int canbus_forward_try(int bus, const struct can_frame *frame, uint32_t release,
		       k_timeout_t wait);
void canbus_note_tx_full(int bus);

/* In a relay hook / handler: k_cycle_get_32() when rx_cb got this frame. */
uint32_t canbus_rx_cycles(void);

/* Aborts every transmission still pending on bus (stale frames on a dead link). */
void canbus_flush(int bus);

bool canbus_bus_running(int bus);
void canbus_set_degraded(int bus, bool degraded);
bool canbus_is_degraded(int bus);

/*
 * k_uptime_get_32() of the last heartbeat from node on bus (any copy, relayed
 * or not); 0 = never heard.
 */
uint32_t canbus_last_hb_ms(int bus, int node);

/* True once if the controller went bus-off since the last call. */
bool canbus_take_busoff(int bus);

/* ---- statistics, read and cleared by the report thread ---- */
#define CANBUS_NUM_SLOTS 9 /* catalog IDs */

struct canbus_bus_stats {
	atomic_t rx[CANBUS_NUM_SLOTS]; /* every copy received on this bus */
	atomic_t tx_ok, tx_err, tx_full, tx_skipped;
	atomic_t tx_queued; /* can_send() accepted; should equal tx_ok + tx_err */
	atomic_t raft_late; /* Raft sent without the reserve: none free within the wait */
	atomic_t infl_max;  /* most frames in flight seen at a send */
};

struct canbus_stats {
	struct canbus_bus_stats bus[NUM_BUSES];
	atomic_t accepted[CANBUS_NUM_SLOTS]; /* first copies */
	atomic_t gaps[CANBUS_NUM_SLOTS];     /* sequence numbers never received */
	atomic_t duplicates, own_echo, unknown_id, rx_dropped;
};

extern struct canbus_stats canbus_stats;
extern const uint16_t canbus_slot_id[CANBUS_NUM_SLOTS];
const struct device *canbus_dev(int bus);

#endif /* CANBUS_H */
```

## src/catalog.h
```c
/*
 * Lab 3 message catalog. All frames are standard 11-bit IDs, DLC 8, sent on
 * both buses. Byte 0 of every payload: low nibble = 4-bit sequence counter
 * (one counter per ID, same value on both bus copies), high nibble = flags
 * (none defined, must be 0). CTRL follows the handout template (with Lab 2's
 * wheel values and a CRC-8); the other layouts follow the Lab 1 design
 * document. Full table: docs/lab3_design.md.
 */
#ifndef CATALOG_H
#define CATALOG_H

#include <stdbool.h>
#include <stddef.h>
#include <stdint.h>
#include <zephyr/sys/byteorder.h>
#include <zephyr/sys/util.h>

enum node_idx {
	NODE_N1 = 0, /* Pi, cockpit */
	NODE_N2 = 1, /* front STM32, steering */
	NODE_N3 = 2, /* rear STM32, drivetrain */
	NUM_NODES = 3,
};

#define ID_CTRL     0x010
#define ID_FAULT(n) (0x020 + (n)) /* FAULT_N1..N3: one ID per sender */
#define ID_HB(n)    (0x100 + (n)) /* HB_N1..N3 */
#define ID_BLINK    0x200
#define ID_FORCE    0x300

#define FRAME_DLC 8
#define SEQ_MASK  0x0F

/* ---- HB_Nx (Lab 1 HB_x layout) ---- */
enum zone_state {
	ZONE_BOOT = 0,
	ZONE_SYS_ERROR = 1,
	ZONE_NORMAL = 2,
	ZONE_ISOLATED = 3,
};
#define HB_B1_STATE_MASK  0x0F    /* byte 1 bits 3:0 */
#define HB_B1_LOCAL_FAULT BIT(4)
#define HB_B2_A_DEGRADED  BIT(0)  /* byte 2 */
#define HB_B2_B_DEGRADED  BIT(1)
#define HB_B2_A_BUSOFF    BIT(2)  /* bus-off since the last heartbeat */
#define HB_B2_B_BUSOFF    BIT(3)
#define HB_B2_RELAY       BIT(4)  /* node is relaying */
/* byte 3: most recent local fault code, 0 = none */

/* ---- FAULT_Nx (Lab 1 ERR_NOTIFY_x layout) ---- */
enum fault_code {
	FAULT_NONE = 0x00,
	FAULT_TEST_BUTTON = 0x01,
	FAULT_UDP_TIMEOUT = 0x02,
	FAULT_ISOLATED = 0x03,
	FAULT_CTRL_RANGE = 0x04,
	FAULT_CTRL_MALFORMED = 0x05,
	FAULT_CTRL_TIMEOUT = 0x06,
	FAULT_MOTOR_OPEN = 0x07,
	FAULT_MOTOR_OVERLOAD = 0x08,
	FAULT_WATCHDOG_RESET = 0x09,
	FAULT_PEER_LOST = 0x0A,
};
/* byte 1: fault code; byte 2: detail (zone index for PEER_LOST, else offending ID low byte) */

/*
 * ---- CTRL (handout template layout) ----
 *   byte 1-2  steer     int16 LE, Lab 2 raw value, -32767..32766, + = right
 *   byte 3    throttle  uint8, Lab 2 raw value >> 7 (0..32767 -> 0..255)
 *   byte 4    brake     uint8, Lab 2 raw value >> 7
 *   byte 5    buttons   CTRL_BTN_* bits, others must be 0
 *   byte 6    CRC-8/SAE-J1850 over bytes 0-5 (sequence byte included)
 *   byte 7    reserved, must be 0
 */
struct ctrl_cmd {
	int16_t steer;
	uint8_t throttle;
	uint8_t brake;
	uint8_t buttons;
};
#define CTRL_STEER_MIN    (-32767)
#define CTRL_STEER_MAX    32766
#define CTRL_PEDAL_SHIFT  7   /* Lab 2 raw pedal value >> 7 = payload counts */
#define CTRL_BTN4         BIT(0) /* wheel button 4 */
#define CTRL_BTN5         BIT(1) /* wheel button 5: left signal */
#define CTRL_BTN10        BIT(2) /* wheel button 10 */
#define CTRL_BTN_MASK     (CTRL_BTN4 | CTRL_BTN5 | CTRL_BTN10)
#define CTRL_CRC_LEN      6   /* bytes 0..5 */

/*
 * CRC-8/SAE-J1850: poly 0x1D, init 0xFF, final XOR 0xFF, no reflection
 * (AUTOSAR E2E profile 1). Check value: "123456789" -> 0x4B.
 */
static inline uint8_t crc8_j1850(const uint8_t *data, size_t len)
{
	uint8_t crc = 0xFF;

	for (size_t i = 0; i < len; i++) {
		crc ^= data[i];
		for (int b = 0; b < 8; b++) {
			crc = (crc & 0x80) ? (uint8_t)((crc << 1) ^ 0x1D) : (uint8_t)(crc << 1);
		}
	}
	return crc ^ 0xFF;
}

/* Fills bytes 1-7; call after byte 0 (sequence) is set, since the CRC covers it. */
static inline void ctrl_encode(const struct ctrl_cmd *cmd, uint8_t data[FRAME_DLC])
{
	sys_put_le16((uint16_t)cmd->steer, &data[1]);
	data[3] = cmd->throttle;
	data[4] = cmd->brake;
	data[5] = cmd->buttons;
	data[6] = crc8_j1850(data, CTRL_CRC_LEN);
	data[7] = 0;
}

static inline void ctrl_decode(const uint8_t data[FRAME_DLC], struct ctrl_cmd *cmd)
{
	cmd->steer = (int16_t)sys_get_le16(&data[1]);
	cmd->throttle = data[3];
	cmd->brake = data[4];
	cmd->buttons = data[5];
}

/*
 * Validates a received CTRL payload: FAULT_NONE if usable, else the Lab 1
 * fault code to report (CTRL_MALFORMED for a bad CRC or reserved bits,
 * CTRL_RANGE for an out-of-range value). Every uint8 pedal value is valid.
 */
static inline enum fault_code ctrl_check(const uint8_t data[FRAME_DLC], struct ctrl_cmd *cmd)
{
	if (crc8_j1850(data, CTRL_CRC_LEN) != data[6] || data[7] != 0) {
		return FAULT_CTRL_MALFORMED;
	}
	ctrl_decode(data, cmd);
	if (cmd->steer < CTRL_STEER_MIN || cmd->steer > CTRL_STEER_MAX ||
	    (cmd->buttons & ~CTRL_BTN_MASK) != 0) {
		return FAULT_CTRL_RANGE;
	}
	return FAULT_NONE;
}

/* ---- BLINK (Lab 1 BLINK_SYNC layout), byte 1 ---- */
#define BLINK_LEFT  BIT(0)
#define BLINK_RIGHT BIT(1) /* both set = hazard */
#define BLINK_PHASE BIT(2) /* 1 = active lamps on */

/* ---- FORCE: byte 1 = force, int8 (a dummy counter in this lab) ---- */

/* Sending node of a catalog ID, or -1 for an ID not in the catalog. */
static inline int catalog_sender(uint32_t id)
{
	switch (id) {
	case ID_CTRL:
	case ID_BLINK:
		return NODE_N1;
	case ID_FORCE:
		return NODE_N2;
	case ID_FAULT(NODE_N1):
	case ID_FAULT(NODE_N2):
	case ID_FAULT(NODE_N3):
		return (int)(id - ID_FAULT(0));
	case ID_HB(NODE_N1):
	case ID_HB(NODE_N2):
	case ID_HB(NODE_N3):
		return (int)(id - ID_HB(0));
	default:
		return -1;
	}
}

static inline bool catalog_is_hb(uint32_t id)
{
	return id >= ID_HB(0) && id < ID_HB(NUM_NODES);
}

#endif /* CATALOG_H */
```

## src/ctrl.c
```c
#include "ctrl.h"

#include "lab3_config.h"

struct ctrl_stats ctrl_stats;

static struct k_spinlock lock;
static struct ctrl_cmd latest;
static uint32_t latest_ms;
static bool have;

K_SEM_DEFINE(ctrl_new, 0, 1);

void ctrl_on_frame(const struct can_frame *frame)
{
	struct ctrl_cmd cmd;
	enum fault_code fault = ctrl_check(frame->data, &cmd);

	if (fault != FAULT_NONE) {
		/* Stage 4: error state + FAULT_Nx. For now, count and keep the old command. */
		atomic_inc(fault == FAULT_CTRL_MALFORMED ? &ctrl_stats.malformed
							 : &ctrl_stats.out_of_range);
		atomic_set(&ctrl_stats.last_fault, fault);
		return;
	}

	k_spinlock_key_t key = k_spin_lock(&lock);
	latest = cmd;
	latest_ms = k_uptime_get_32();
	have = true;
	k_spin_unlock(&lock, key);

	atomic_inc(&ctrl_stats.ok);
	k_sem_give(&ctrl_new);
}

bool ctrl_get(struct ctrl_cmd *cmd, uint32_t *age_ms)
{
	k_spinlock_key_t key = k_spin_lock(&lock);
	bool ok = have;

	if (ok) {
		*cmd = latest;
		*age_ms = k_uptime_get_32() - latest_ms;
	}
	k_spin_unlock(&lock, key);
	return ok;
}

bool ctrl_fresh(void)
{
	struct ctrl_cmd cmd;
	uint32_t age;

	return ctrl_get(&cmd, &age) && age < CTRL_TIMEOUT_MS;
}

bool ctrl_wait(k_timeout_t timeout)
{
	return k_sem_take(&ctrl_new, timeout) == 0;
}
```

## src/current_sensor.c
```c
/* Ported from Lab 2 src/drivers/current_sensor.c and src/tasks/current_sensing.c. */
#include "current_sensor.h"
#include "wcet.h"

#include <errno.h>

#include <zephyr/device.h>
#include <zephyr/drivers/adc.h>
#include <zephyr/kernel.h>
#include <zephyr/sys/atomic.h>
#include <zephyr/sys/printk.h>
#include <zephyr/sys/util.h>

#include "lab3_config.h"
#include "node_config.h"

#define ADC_REFERENCE_MV     3300
#define ADC_COUNTS           4096
#define DIVIDER_FACTOR       2
#define SENSITIVITY_MV_PER_A 185

#define ZERO_SAMPLES 128
#define READ_SAMPLES 16
#define RAW_SCALE    256

#define CURRENT_STACK_SIZE 1024

static const struct current_channel channels[] = CURRENT_CHANNELS;
#define NUM_CHANNELS ARRAY_SIZE(channels)

static const struct device *const adc_dev = DEVICE_DT_GET(DT_NODELABEL(adc1));

static int32_t zero_scaled[NUM_CHANNELS];
static atomic_t latest_ma[NUM_CHANNELS];
static atomic_t have_reading;

K_THREAD_STACK_DEFINE(current_stack, CURRENT_STACK_SIZE);
static struct k_thread current_data;

static int read_channel(uint8_t channel, int16_t *sample)
{
	struct adc_sequence sequence = {
		.channels = BIT(channel),
		.buffer = sample,
		.buffer_size = sizeof(*sample),
		.resolution = 12,
	};

	return adc_read(adc_dev, &sequence);
}

static int32_t convert_to_ma(int32_t raw_scaled, int i)
{
	int64_t delta = (int64_t)raw_scaled - zero_scaled[i];
	int64_t numerator = delta * ADC_REFERENCE_MV * DIVIDER_FACTOR * 1000 * channels[i].polarity;
	int64_t denominator = (int64_t)RAW_SCALE * ADC_COUNTS * SENSITIVITY_MV_PER_A;

	return (int32_t)(numerator / denominator);
}

static void current_thread(void *p1, void *p2, void *p3)
{
	struct wcet_job job = WCET_JOB(WCET_CURRENT);
	int64_t next = k_uptime_get();

	ARG_UNUSED(p1);
	ARG_UNUSED(p2);
	ARG_UNUSED(p3);

	for (;;) {
		wcet_begin(&job);

		int32_t sums[NUM_CHANNELS] = {0};
		int16_t sample;
		int ret = 0;

		for (int n = 0; n < READ_SAMPLES && ret == 0; n++) {
			for (size_t i = 0; i < NUM_CHANNELS && ret == 0; i++) {
				ret = read_channel(channels[i].adc_channel, &sample);
				sums[i] += sample;
			}
		}
		if (ret == 0) {
			for (size_t i = 0; i < NUM_CHANNELS; i++) {
				atomic_set(&latest_ma[i],
					   convert_to_ma(sums[i] * RAW_SCALE / READ_SAMPLES, i));
			}
			atomic_set(&have_reading, 1);
		}

		wcet_end(&job);
		next += CURRENT_PERIOD_MS;
		k_sleep(K_TIMEOUT_ABS_MS(next));
	}
}

int current_sensor_init(void)
{
	int32_t sums[NUM_CHANNELS] = {0};
	int16_t sample;
	int ret;

	if (!device_is_ready(adc_dev)) {
		return -ENODEV;
	}

	for (size_t i = 0; i < NUM_CHANNELS; i++) {
		struct adc_channel_cfg config = {
			.gain = ADC_GAIN_1,
			.reference = ADC_REF_INTERNAL,
			.acquisition_time = ADC_ACQ_TIME(ADC_ACQ_TIME_TICKS, 480),
			.channel_id = channels[i].adc_channel,
		};

		ret = adc_channel_setup(adc_dev, &config);
		if (ret != 0) {
			return ret;
		}
	}

	printk("Calibrating current sensors (no load current)\n");
	k_msleep(100);
	for (int n = 0; n < ZERO_SAMPLES; n++) {
		for (size_t i = 0; i < NUM_CHANNELS; i++) {
			ret = read_channel(channels[i].adc_channel, &sample);
			if (ret != 0) {
				return ret;
			}
			sums[i] += sample;
		}
		k_msleep(5);
	}
	printk("Zero counts:");
	for (size_t i = 0; i < NUM_CHANNELS; i++) {
		zero_scaled[i] = sums[i] * RAW_SCALE / ZERO_SAMPLES;
		printk(" %s=%d", channels[i].name, (int)(zero_scaled[i] / RAW_SCALE));
	}
	printk("\n");

	k_thread_create(&current_data, current_stack, K_THREAD_STACK_SIZEOF(current_stack),
			current_thread, NULL, NULL, NULL, PRIO_CURRENT, 0, K_NO_WAIT);
	k_thread_name_set(&current_data, "current");
	return 0;
}

int current_sensor_count(void)
{
	return NUM_CHANNELS;
}

const char *current_sensor_name(int i)
{
	return channels[i].name;
}

bool current_sensor_get_ma(int i, int32_t *ma)
{
	*ma = (int32_t)atomic_get(&latest_ma[i]);
	return atomic_get(&have_reading) != 0;
}
```

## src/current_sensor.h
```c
/*
 * ACS712-style current sensors on ADC1, from Lab 2 (185 mV/A behind a 2:1
 * divider, zero-current offset calibrated at boot). The channels a node reads
 * are listed in node_config.h (CURRENT_CHANNELS). The CURRENT thread samples
 * every CURRENT_PERIOD_MS at low priority.
 */
#ifndef CURRENT_SENSOR_H
#define CURRENT_SENSOR_H

#include <stdbool.h>
#include <stdint.h>

struct current_channel {
	uint8_t adc_channel;
	int8_t polarity; /* +1 / -1: positive current for our wiring direction */
	const char *name;
};

/*
 * Calibrates the zero offsets (blocks ~0.75 s; loads must carry no current),
 * then starts the CURRENT thread.
 */
int current_sensor_init(void);

int current_sensor_count(void);
const char *current_sensor_name(int i);

/* Latest reading of channel i in mA; false until the first sample. */
bool current_sensor_get_ma(int i, int32_t *ma);

#endif /* CURRENT_SENSOR_H */
```

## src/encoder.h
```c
/* Wheel encoders from Lab 2: left on TIM1 (PA8/PA9), right on TIM2 (PA15/PB3). */
#ifndef ENCODER_H
#define ENCODER_H

#include <stdint.h>

struct encoder_readings {
	int64_t left_count;
	int64_t right_count;
	int32_t left_velocity_mm_s; /* 1000 mm/s = 1 m/s */
	int32_t right_velocity_mm_s;
};

int encoder_init(void);

/* Velocity is averaged over the time since the previous call. PID thread only. */
int encoder_read(struct encoder_readings *readings);

#endif /* ENCODER_H */
```
